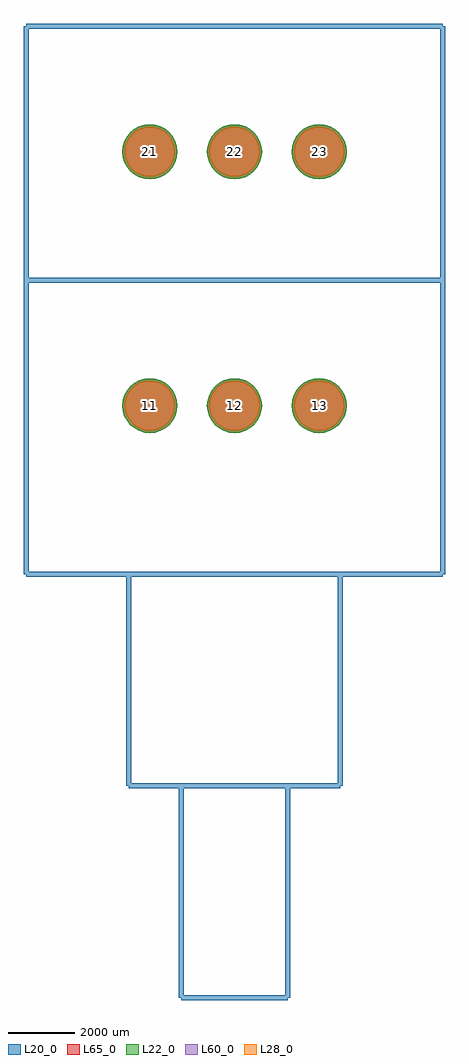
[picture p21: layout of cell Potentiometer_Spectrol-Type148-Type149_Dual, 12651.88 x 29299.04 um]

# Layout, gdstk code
import gdstk
lib = gdstk.Library(unit=1e-6, precision=1e-09)
def P(c, l, *ps):  # polygons
    for p in ps: c.add(gdstk.Polygon(p, *l))
L20_0 = (20, 0)
L22_0 = (22, 0)
L28_0 = (28, 0)
L60_0 = (60, 0)
L65_0 = (65, 0)

potentiometer_spectrol_t = lib.new_cell('Potentiometer_Spectrol-Type148-Type149_Dual')
P(potentiometer_spectrol_t, L22_0, [(825.57,7620),(809.707,7781.061),(762.727,7935.932),(686.436,8078.662),(583.766,8203.766),(458.662,8306.436),(315.932,8382.727),(161.061,8429.707),(0,8445.57),(-161.061,8429.707),(-315.932,8382.727),(-458.662,8306.436),(-583.766,8203.766),(-686.436,8078.662),(-762.727,7935.932),(-809.707,7781.061),(-825.57,7620),(-809.707,7458.939),(-762.727,7304.068),(-686.436,7161.338),(-583.766,7036.234),(-458.662,6933.564),(-315.932,6857.273),(-161.061,6810.293),(0,6794.43),(161.061,6810.293),(315.932,6857.273),(458.662,6933.564),(583.766,7036.234),(686.436,7161.338),(762.727,7304.068),(809.707,7458.939)],
  [(5905.57,7620),(5889.707,7781.061),(5842.727,7935.932),(5766.436,8078.662),(5663.766,8203.766),(5538.662,8306.436),(5395.932,8382.727),(5241.061,8429.707),(5080,8445.57),(4918.939,8429.707),(4764.068,8382.727),(4621.338,8306.436),(4496.234,8203.766),(4393.564,8078.662),(4317.273,7935.932),(4270.293,7781.061),(4254.43,7620),(4270.293,7458.939),(4317.273,7304.068),(4393.564,7161.338),(4496.234,7036.234),(4621.338,6933.564),(4764.068,6857.273),(4918.939,6810.293),(5080,6794.43),(5241.061,6810.293),(5395.932,6857.273),(5538.662,6933.564),(5663.766,7036.234),(5766.436,7161.338),(5842.727,7304.068),(5889.707,7458.939)],
  [(3365.57,7620),(3349.707,7781.061),(3302.727,7935.932),(3226.436,8078.662),(3123.766,8203.766),(2998.662,8306.436),(2855.932,8382.727),(2701.061,8429.707),(2540,8445.57),(2378.939,8429.707),(2224.068,8382.727),(2081.338,8306.436),(1956.234,8203.766),(1853.564,8078.662),(1777.273,7935.932),(1730.293,7781.061),(1714.43,7620),(1730.293,7458.939),(1777.273,7304.068),(1853.564,7161.338),(1956.234,7036.234),(2081.338,6933.564),(2224.068,6857.273),(2378.939,6810.293),(2540,6794.43),(2701.061,6810.293),(2855.932,6857.273),(2998.662,6933.564),(3123.766,7036.234),(3226.436,7161.338),(3302.727,7304.068),(3349.707,7458.939)],
  [(825.57,0),(809.707,161.061),(762.727,315.932),(686.436,458.662),(583.766,583.766),(458.662,686.436),(315.932,762.727),(161.061,809.707),(0,825.57),(-161.061,809.707),(-315.932,762.727),(-458.662,686.436),(-583.766,583.766),(-686.436,458.662),(-762.727,315.932),(-809.707,161.061),(-825.57,0),(-809.707,-161.061),(-762.727,-315.932),(-686.436,-458.662),(-583.766,-583.766),(-458.662,-686.436),(-315.932,-762.727),(-161.061,-809.707),(0,-825.57),(161.061,-809.707),(315.932,-762.727),(458.662,-686.436),(583.766,-583.766),(686.436,-458.662),(762.727,-315.932),(809.707,-161.061)],
  [(5905.57,0),(5889.707,161.061),(5842.727,315.932),(5766.436,458.662),(5663.766,583.766),(5538.662,686.436),(5395.932,762.727),(5241.061,809.707),(5080,825.57),(4918.939,809.707),(4764.068,762.727),(4621.338,686.436),(4496.234,583.766),(4393.564,458.662),(4317.273,315.932),(4270.293,161.061),(4254.43,0),(4270.293,-161.061),(4317.273,-315.932),(4393.564,-458.662),(4496.234,-583.766),(4621.338,-686.436),(4764.068,-762.727),(4918.939,-809.707),(5080,-825.57),(5241.061,-809.707),(5395.932,-762.727),(5538.662,-686.436),(5663.766,-583.766),(5766.436,-458.662),(5842.727,-315.932),(5889.707,-161.061)],
  [(3365.57,0),(3349.707,161.061),(3302.727,315.932),(3226.436,458.662),(3123.766,583.766),(2998.662,686.436),(2855.932,762.727),(2701.061,809.707),(2540,825.57),(2378.939,809.707),(2224.068,762.727),(2081.338,686.436),(1956.234,583.766),(1853.564,458.662),(1777.273,315.932),(1730.293,161.061),(1714.43,0),(1730.293,-161.061),(1777.273,-315.932),(1853.564,-458.662),(1956.234,-583.766),(2081.338,-686.436),(2224.068,-762.727),(2378.939,-809.707),(2540,-825.57),(2701.061,-809.707),(2855.932,-762.727),(2998.662,-686.436),(3123.766,-583.766),(3226.436,-458.662),(3302.727,-315.932),(3349.707,-161.061)])
P(potentiometer_spectrol_t, L28_0, [(750.57,7620),(736.148,7766.429),(693.436,7907.231),(624.076,8036.994),(530.733,8150.733),(416.994,8244.076),(287.231,8313.436),(146.429,8356.148),(0,8370.57),(-146.429,8356.148),(-287.231,8313.436),(-416.994,8244.076),(-530.733,8150.733),(-624.076,8036.994),(-693.436,7907.231),(-736.148,7766.429),(-750.57,7620),(-736.148,7473.571),(-693.436,7332.769),(-624.076,7203.006),(-530.733,7089.267),(-416.994,6995.924),(-287.231,6926.564),(-146.429,6883.852),(0,6869.43),(146.429,6883.852),(287.231,6926.564),(416.994,6995.924),(530.733,7089.267),(624.076,7203.006),(693.436,7332.769),(736.148,7473.571)],
  [(5830.57,7620),(5816.148,7766.429),(5773.436,7907.231),(5704.076,8036.994),(5610.733,8150.733),(5496.994,8244.076),(5367.231,8313.436),(5226.429,8356.148),(5080,8370.57),(4933.571,8356.148),(4792.769,8313.436),(4663.006,8244.076),(4549.267,8150.733),(4455.924,8036.994),(4386.564,7907.231),(4343.852,7766.429),(4329.43,7620),(4343.852,7473.571),(4386.564,7332.769),(4455.924,7203.006),(4549.267,7089.267),(4663.006,6995.924),(4792.769,6926.564),(4933.571,6883.852),(5080,6869.43),(5226.429,6883.852),(5367.231,6926.564),(5496.994,6995.924),(5610.733,7089.267),(5704.076,7203.006),(5773.436,7332.769),(5816.148,7473.571)],
  [(3290.57,7620),(3276.148,7766.429),(3233.436,7907.231),(3164.076,8036.994),(3070.733,8150.733),(2956.994,8244.076),(2827.231,8313.436),(2686.429,8356.148),(2540,8370.57),(2393.571,8356.148),(2252.769,8313.436),(2123.006,8244.076),(2009.267,8150.733),(1915.924,8036.994),(1846.564,7907.231),(1803.852,7766.429),(1789.43,7620),(1803.852,7473.571),(1846.564,7332.769),(1915.924,7203.006),(2009.267,7089.267),(2123.006,6995.924),(2252.769,6926.564),(2393.571,6883.852),(2540,6869.43),(2686.429,6883.852),(2827.231,6926.564),(2956.994,6995.924),(3070.733,7089.267),(3164.076,7203.006),(3233.436,7332.769),(3276.148,7473.571)],
  [(750.57,0),(736.148,146.429),(693.436,287.231),(624.076,416.994),(530.733,530.733),(416.994,624.076),(287.231,693.436),(146.429,736.148),(0,750.57),(-146.429,736.148),(-287.231,693.436),(-416.994,624.076),(-530.733,530.733),(-624.076,416.994),(-693.436,287.231),(-736.148,146.429),(-750.57,0),(-736.148,-146.429),(-693.436,-287.231),(-624.076,-416.994),(-530.733,-530.733),(-416.994,-624.076),(-287.231,-693.436),(-146.429,-736.148),(0,-750.57),(146.429,-736.148),(287.231,-693.436),(416.994,-624.076),(530.733,-530.733),(624.076,-416.994),(693.436,-287.231),(736.148,-146.429)],
  [(5830.57,0),(5816.148,146.429),(5773.436,287.231),(5704.076,416.994),(5610.733,530.733),(5496.994,624.076),(5367.231,693.436),(5226.429,736.148),(5080,750.57),(4933.571,736.148),(4792.769,693.436),(4663.006,624.076),(4549.267,530.733),(4455.924,416.994),(4386.564,287.231),(4343.852,146.429),(4329.43,0),(4343.852,-146.429),(4386.564,-287.231),(4455.924,-416.994),(4549.267,-530.733),(4663.006,-624.076),(4792.769,-693.436),(4933.571,-736.148),(5080,-750.57),(5226.429,-736.148),(5367.231,-693.436),(5496.994,-624.076),(5610.733,-530.733),(5704.076,-416.994),(5773.436,-287.231),(5816.148,-146.429)],
  [(3290.57,0),(3276.148,146.429),(3233.436,287.231),(3164.076,416.994),(3070.733,530.733),(2956.994,624.076),(2827.231,693.436),(2686.429,736.148),(2540,750.57),(2393.571,736.148),(2252.769,693.436),(2123.006,624.076),(2009.267,530.733),(1915.924,416.994),(1846.564,287.231),(1803.852,146.429),(1789.43,0),(1803.852,-146.429),(1846.564,-287.231),(1915.924,-416.994),(2009.267,-530.733),(2123.006,-624.076),(2252.769,-693.436),(2393.571,-736.148),(2540,-750.57),(2686.429,-736.148),(2827.231,-693.436),(2956.994,-624.076),(3070.733,-530.733),(3164.076,-416.994),(3233.436,-287.231),(3276.148,-146.429)])
P(potentiometer_spectrol_t, L60_0, [(750.57,7620),(736.148,7766.429),(693.436,7907.231),(624.076,8036.994),(530.733,8150.733),(416.994,8244.076),(287.231,8313.436),(146.429,8356.148),(0,8370.57),(-146.429,8356.148),(-287.231,8313.436),(-416.994,8244.076),(-530.733,8150.733),(-624.076,8036.994),(-693.436,7907.231),(-736.148,7766.429),(-750.57,7620),(-736.148,7473.571),(-693.436,7332.769),(-624.076,7203.006),(-530.733,7089.267),(-416.994,6995.924),(-287.231,6926.564),(-146.429,6883.852),(0,6869.43),(146.429,6883.852),(287.231,6926.564),(416.994,6995.924),(530.733,7089.267),(624.076,7203.006),(693.436,7332.769),(736.148,7473.571)],
  [(5830.57,7620),(5816.148,7766.429),(5773.436,7907.231),(5704.076,8036.994),(5610.733,8150.733),(5496.994,8244.076),(5367.231,8313.436),(5226.429,8356.148),(5080,8370.57),(4933.571,8356.148),(4792.769,8313.436),(4663.006,8244.076),(4549.267,8150.733),(4455.924,8036.994),(4386.564,7907.231),(4343.852,7766.429),(4329.43,7620),(4343.852,7473.571),(4386.564,7332.769),(4455.924,7203.006),(4549.267,7089.267),(4663.006,6995.924),(4792.769,6926.564),(4933.571,6883.852),(5080,6869.43),(5226.429,6883.852),(5367.231,6926.564),(5496.994,6995.924),(5610.733,7089.267),(5704.076,7203.006),(5773.436,7332.769),(5816.148,7473.571)],
  [(3290.57,7620),(3276.148,7766.429),(3233.436,7907.231),(3164.076,8036.994),(3070.733,8150.733),(2956.994,8244.076),(2827.231,8313.436),(2686.429,8356.148),(2540,8370.57),(2393.571,8356.148),(2252.769,8313.436),(2123.006,8244.076),(2009.267,8150.733),(1915.924,8036.994),(1846.564,7907.231),(1803.852,7766.429),(1789.43,7620),(1803.852,7473.571),(1846.564,7332.769),(1915.924,7203.006),(2009.267,7089.267),(2123.006,6995.924),(2252.769,6926.564),(2393.571,6883.852),(2540,6869.43),(2686.429,6883.852),(2827.231,6926.564),(2956.994,6995.924),(3070.733,7089.267),(3164.076,7203.006),(3233.436,7332.769),(3276.148,7473.571)],
  [(750.57,0),(736.148,146.429),(693.436,287.231),(624.076,416.994),(530.733,530.733),(416.994,624.076),(287.231,693.436),(146.429,736.148),(0,750.57),(-146.429,736.148),(-287.231,693.436),(-416.994,624.076),(-530.733,530.733),(-624.076,416.994),(-693.436,287.231),(-736.148,146.429),(-750.57,0),(-736.148,-146.429),(-693.436,-287.231),(-624.076,-416.994),(-530.733,-530.733),(-416.994,-624.076),(-287.231,-693.436),(-146.429,-736.148),(0,-750.57),(146.429,-736.148),(287.231,-693.436),(416.994,-624.076),(530.733,-530.733),(624.076,-416.994),(693.436,-287.231),(736.148,-146.429)],
  [(5830.57,0),(5816.148,146.429),(5773.436,287.231),(5704.076,416.994),(5610.733,530.733),(5496.994,624.076),(5367.231,693.436),(5226.429,736.148),(5080,750.57),(4933.571,736.148),(4792.769,693.436),(4663.006,624.076),(4549.267,530.733),(4455.924,416.994),(4386.564,287.231),(4343.852,146.429),(4329.43,0),(4343.852,-146.429),(4386.564,-287.231),(4455.924,-416.994),(4549.267,-530.733),(4663.006,-624.076),(4792.769,-693.436),(4933.571,-736.148),(5080,-750.57),(5226.429,-736.148),(5367.231,-693.436),(5496.994,-624.076),(5610.733,-530.733),(5704.076,-416.994),(5773.436,-287.231),(5816.148,-146.429)],
  [(3290.57,0),(3276.148,146.429),(3233.436,287.231),(3164.076,416.994),(3070.733,530.733),(2956.994,624.076),(2827.231,693.436),(2686.429,736.148),(2540,750.57),(2393.571,736.148),(2252.769,693.436),(2123.006,624.076),(2009.267,530.733),(1915.924,416.994),(1846.564,287.231),(1803.852,146.429),(1789.43,0),(1803.852,-146.429),(1846.564,-287.231),(1915.924,-416.994),(2009.267,-530.733),(2123.006,-624.076),(2252.769,-693.436),(2393.571,-736.148),(2540,-750.57),(2686.429,-736.148),(2827.231,-693.436),(2956.994,-624.076),(3070.733,-530.733),(3164.076,-416.994),(3233.436,-287.231),(3276.148,-146.429)])
P(potentiometer_spectrol_t, L65_0, [(825.57,7620),(809.707,7781.061),(762.727,7935.932),(686.436,8078.662),(583.766,8203.766),(458.662,8306.436),(315.932,8382.727),(161.061,8429.707),(0,8445.57),(-161.061,8429.707),(-315.932,8382.727),(-458.662,8306.436),(-583.766,8203.766),(-686.436,8078.662),(-762.727,7935.932),(-809.707,7781.061),(-825.57,7620),(-809.707,7458.939),(-762.727,7304.068),(-686.436,7161.338),(-583.766,7036.234),(-458.662,6933.564),(-315.932,6857.273),(-161.061,6810.293),(0,6794.43),(161.061,6810.293),(315.932,6857.273),(458.662,6933.564),(583.766,7036.234),(686.436,7161.338),(762.727,7304.068),(809.707,7458.939)],
  [(5905.57,7620),(5889.707,7781.061),(5842.727,7935.932),(5766.436,8078.662),(5663.766,8203.766),(5538.662,8306.436),(5395.932,8382.727),(5241.061,8429.707),(5080,8445.57),(4918.939,8429.707),(4764.068,8382.727),(4621.338,8306.436),(4496.234,8203.766),(4393.564,8078.662),(4317.273,7935.932),(4270.293,7781.061),(4254.43,7620),(4270.293,7458.939),(4317.273,7304.068),(4393.564,7161.338),(4496.234,7036.234),(4621.338,6933.564),(4764.068,6857.273),(4918.939,6810.293),(5080,6794.43),(5241.061,6810.293),(5395.932,6857.273),(5538.662,6933.564),(5663.766,7036.234),(5766.436,7161.338),(5842.727,7304.068),(5889.707,7458.939)],
  [(3365.57,7620),(3349.707,7781.061),(3302.727,7935.932),(3226.436,8078.662),(3123.766,8203.766),(2998.662,8306.436),(2855.932,8382.727),(2701.061,8429.707),(2540,8445.57),(2378.939,8429.707),(2224.068,8382.727),(2081.338,8306.436),(1956.234,8203.766),(1853.564,8078.662),(1777.273,7935.932),(1730.293,7781.061),(1714.43,7620),(1730.293,7458.939),(1777.273,7304.068),(1853.564,7161.338),(1956.234,7036.234),(2081.338,6933.564),(2224.068,6857.273),(2378.939,6810.293),(2540,6794.43),(2701.061,6810.293),(2855.932,6857.273),(2998.662,6933.564),(3123.766,7036.234),(3226.436,7161.338),(3302.727,7304.068),(3349.707,7458.939)],
  [(825.57,0),(809.707,161.061),(762.727,315.932),(686.436,458.662),(583.766,583.766),(458.662,686.436),(315.932,762.727),(161.061,809.707),(0,825.57),(-161.061,809.707),(-315.932,762.727),(-458.662,686.436),(-583.766,583.766),(-686.436,458.662),(-762.727,315.932),(-809.707,161.061),(-825.57,0),(-809.707,-161.061),(-762.727,-315.932),(-686.436,-458.662),(-583.766,-583.766),(-458.662,-686.436),(-315.932,-762.727),(-161.061,-809.707),(0,-825.57),(161.061,-809.707),(315.932,-762.727),(458.662,-686.436),(583.766,-583.766),(686.436,-458.662),(762.727,-315.932),(809.707,-161.061)],
  [(5905.57,0),(5889.707,161.061),(5842.727,315.932),(5766.436,458.662),(5663.766,583.766),(5538.662,686.436),(5395.932,762.727),(5241.061,809.707),(5080,825.57),(4918.939,809.707),(4764.068,762.727),(4621.338,686.436),(4496.234,583.766),(4393.564,458.662),(4317.273,315.932),(4270.293,161.061),(4254.43,0),(4270.293,-161.061),(4317.273,-315.932),(4393.564,-458.662),(4496.234,-583.766),(4621.338,-686.436),(4764.068,-762.727),(4918.939,-809.707),(5080,-825.57),(5241.061,-809.707),(5395.932,-762.727),(5538.662,-686.436),(5663.766,-583.766),(5766.436,-458.662),(5842.727,-315.932),(5889.707,-161.061)],
  [(3365.57,0),(3349.707,161.061),(3302.727,315.932),(3226.436,458.662),(3123.766,583.766),(2998.662,686.436),(2855.932,762.727),(2701.061,809.707),(2540,825.57),(2378.939,809.707),(2224.068,762.727),(2081.338,686.436),(1956.234,583.766),(1853.564,458.662),(1777.273,315.932),(1730.293,161.061),(1714.43,0),(1730.293,-161.061),(1777.273,-315.932),(1853.564,-458.662),(1956.234,-583.766),(2081.338,-686.436),(2224.068,-762.727),(2378.939,-809.707),(2540,-825.57),(2701.061,-809.707),(2855.932,-762.727),(2998.662,-686.436),(3123.766,-583.766),(3226.436,-458.662),(3302.727,-315.932),(3349.707,-161.061)])
potentiometer_spectrol_t.add(gdstk.FlexPath([(8790.94,3759.2),(8790.94,-5069.84)], 149.998, ends="flush", simple_path=True, layer=20, datatype=0))  # L20_0
potentiometer_spectrol_t.add(gdstk.FlexPath([(-3710.94,3759.2),(8790.94,3759.2)], 149.998, ends="flush", simple_path=True, layer=20, datatype=0))  # L20_0
potentiometer_spectrol_t.add(gdstk.FlexPath([(-3710.94,-5069.84),(-3710.94,3759.2)], 149.998, ends="flush", simple_path=True, layer=20, datatype=0))  # L20_0
potentiometer_spectrol_t.add(gdstk.FlexPath([(8790.94,-5069.84),(-3710.94,-5069.84)], 149.998, ends="flush", simple_path=True, layer=20, datatype=0))  # L20_0
potentiometer_spectrol_t.add(gdstk.FlexPath([(-640.08,-11419.84),(-640.08,-5069.84)], 149.998, ends="flush", simple_path=True, layer=20, datatype=0))  # L20_0
potentiometer_spectrol_t.add(gdstk.FlexPath([(5720.08,-5069.84),(5720.08,-11419.84)], 149.998, ends="flush", simple_path=True, layer=20, datatype=0))  # L20_0
potentiometer_spectrol_t.add(gdstk.FlexPath([(-640.08,-11419.84),(5720.08,-11419.84)], 149.998, ends="flush", simple_path=True, layer=20, datatype=0))  # L20_0
potentiometer_spectrol_t.add(gdstk.FlexPath([(939.8,-17769.84),(939.8,-11419.84)], 149.998, ends="flush", simple_path=True, layer=20, datatype=0))  # L20_0
potentiometer_spectrol_t.add(gdstk.FlexPath([(4140.2,-17769.84),(939.8,-17769.84)], 149.998, ends="flush", simple_path=True, layer=20, datatype=0))  # L20_0
potentiometer_spectrol_t.add(gdstk.FlexPath([(4140.2,-11419.84),(4140.2,-17769.84)], 149.998, ends="flush", simple_path=True, layer=20, datatype=0))  # L20_0
potentiometer_spectrol_t.add(gdstk.FlexPath([(-3710.94,11379.2),(-3710.94,3759.2)], 149.998, ends="flush", simple_path=True, layer=20, datatype=0))  # L20_0
potentiometer_spectrol_t.add(gdstk.FlexPath([(8790.94,11379.2),(-3710.94,11379.2)], 149.998, ends="flush", simple_path=True, layer=20, datatype=0))  # L20_0
potentiometer_spectrol_t.add(gdstk.FlexPath([(8790.94,3759.2),(8790.94,11379.2)], 149.998, ends="flush", simple_path=True, layer=20, datatype=0))  # L20_0
potentiometer_spectrol_t.add(gdstk.Label('21', (0,7620), layer=28, texttype=0))
potentiometer_spectrol_t.add(gdstk.Label('23', (5080,7620), layer=28, texttype=0))
potentiometer_spectrol_t.add(gdstk.Label('22', (2540,7620), layer=28, texttype=0))
potentiometer_spectrol_t.add(gdstk.Label('11', (0,0), layer=28, texttype=0))
potentiometer_spectrol_t.add(gdstk.Label('13', (5080,0), layer=28, texttype=0))
potentiometer_spectrol_t.add(gdstk.Label('12', (2540,0), layer=28, texttype=0))
potentiometer_spectrol_t.add(gdstk.Label('type', (2540,-20320), layer=9, texttype=0))
potentiometer_spectrol_t.add(gdstk.Label('devicename', (2540,12700), layer=9, texttype=0))

lib.write_gds('Potentiometer_Spectrol-Type148-Type149_Dual.gds')
